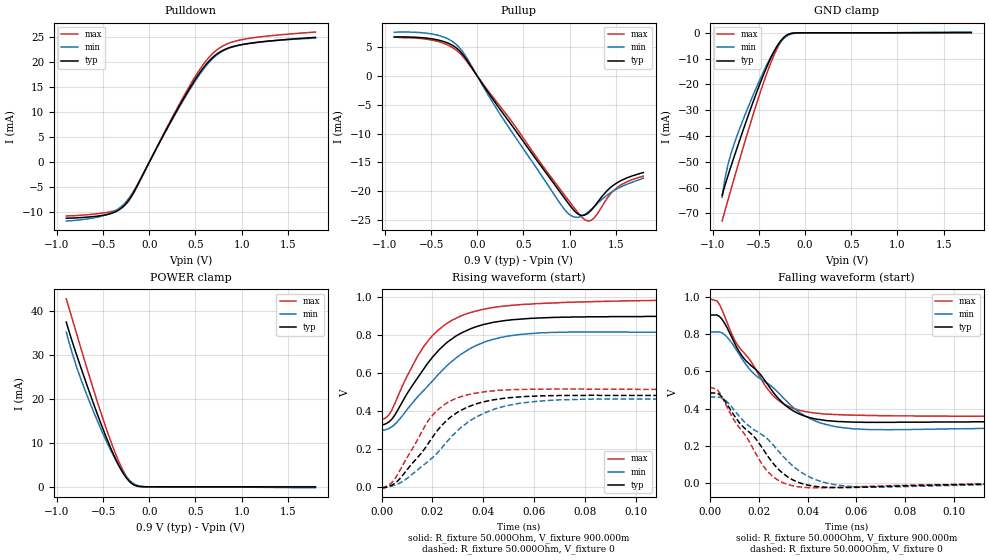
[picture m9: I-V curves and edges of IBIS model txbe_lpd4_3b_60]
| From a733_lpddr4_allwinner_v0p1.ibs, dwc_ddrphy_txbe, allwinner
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[Model] txbe_lpd4_3b_60
Model_type   I/O
Polarity   Non-Inverting
Enable   Active-High
C_comp   1.517pF   1.510pF   1.524pF
C_comp_pullup   267.419fF   265.838fF   270.415fF
C_comp_pulldown 1.188pF   1.186pF   1.195pF
Vinh = 427.000mV
Vinl = 307.000mV
Vmeas = 367.000mV
Vref = 367.000mV
Rref = 50Ohms
Cref = 0pF
[Model Spec]
Vinh   427.000mV   413.000mV   450.000mV
Vinl   307.000mV   293.000mV   330.000mV
Vmeas   367.000mV   353.000mV   390.000mV
Vref   367.000mV   353.000mV   390.000mV
D_overshoot_ampl_h 0.1 NA   NA
D_overshoot_ampl_l 0.1 NA   NA
D_overshoot_area_l 300.000m NA   NA
D_overshoot_area_h 300.000m NA   NA
[Receiver Thresholds]
Vth = 183.000mV
Vth_min = 177.000mV
Vth_max = 195.000mV
Vinh_ac = 60.000mV
Vinh_dc = 60.000mV
Vinl_ac = -60.000mV
Vinl_dc = -60.000mV
Tslew_ac = 5.000ns
Threshold_sensitivity = 0.5
Reference_supply Pullup_ref
[Temperature Range]   25.000   125.000   -40.000
[Voltage Range]   900.000mV   810.000mV   990.000mV
[GND Clamp Reference]   0.00V   0.00V   0.00V
[C Comp Corner]
| variable   typ   min   max
C_comp 1.517pF   1.524pF   1.510pF
C_comp_pullup 270.415fF   267.419fF   265.838fF
C_comp_pulldown 1.188pF   1.195pF   1.186pF
[Pulldown Reference]   0.00V   0.00V   0.00V
[POWER Clamp Reference]   900.000mV   810.000mV   990.000mV
[Pullup Reference]   900.000mV   810.000mV   990.000mV
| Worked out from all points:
|   slope of the pulldown table from 0 to 0.135 V, typ, clamps not added: 28.3 ohm
|   slope of the pullup table from 0 to 0.135 V, typ, clamps not added: 41.6 ohm
|   GND clamp passes 1 mA (typ) near -0.20 V on its own axis
|   POWER clamp passes 1 mA (typ) near -0.20 V on its own axis
|   rising waveform, R_fixture 50.000Ohm, V_fixture 900.000m: 20-80 % time 20.4ps typ, 22.7ps min, 19.4ps max; typ from 0.328 V to 0.9 V
|   rising waveform, R_fixture 50.000Ohm, V_fixture 0: 20-80 % time 18.6ps typ, 22.9ps min, 14.7ps max; typ from -0.001 V to 0.48 V
|   falling waveform, R_fixture 50.000Ohm, V_fixture 900.000m: 20-80 % time 19.9ps typ, 23.3ps min, 17.9ps max; typ from 0.904 V to 0.331 V
|   falling waveform, R_fixture 50.000Ohm, V_fixture 0: 20-80 % time 17.7ps typ, 22.5ps min, 14.3ps max; typ from 0.484 V to 0 V
[GND Clamp]
-900mV    -63.03mA   -63.74mA   -72.92mA
-870mV    -59.23mA   -56.7mA    -69.06mA
-840mV    -55.73mA   -51.6mA    -65.25mA
-810mV    -52.38mA   -47.57mA   -61.47mA
-760mV    -46.97mA   -42.03mA   -55.24mA
-650mV    -35.42mA   -31.64mA   -41.81mA
-480mV    -18.81mA   -17.27mA   -22.36mA
-370mV    -9.572mA   -9.262mA   -11.43mA
-290mV    -4.331mA   -4.638mA   -5.112mA
-200mV    -903.5uA   -1.331mA   -935.7uA
-40mV     -3.989uA   -16.47uA   -1.578uA
1.8V      73.41uA    295.2uA    56.65uA
[Power Clamp]
-900mV    37.59mA    35.26mA    42.88mA
-800mV    30.83mA    28.11mA    35.78mA
-720mV    25.86mA    23.31mA    30.1mA
-560mV    16.38mA    14.9mA     19.19mA
-420mV    8.907mA    8.372mA    10.5mA
-360mV    6.103mA    5.92mA     7.216mA
-280mV    2.975mA    3.149mA    3.511mA
-220mV    1.297mA    1.59mA     1.488mA
-170mV    468.9uA    724uA      488.2uA
-110mV    85.44uA    196.7uA    66.54uA
-30mV     3.546uA    12.27uA    2.009uA
1.8V      -34.72uA   -241.5uA   -8.599uA
[Pulldown]
-900mV    -11.22mA   -11.78mA   -10.77mA
-450mV    -10.45mA   -10.43mA   -10.04mA
-340mV    -9.686mA   -9.397mA   -9.492mA
-230mV    -7.796mA   -7.444mA   -7.919mA
-150mV    -5.37mA    -5.178mA   -5.521mA
180mV     6.333mA    6.207mA    6.522mA
430mV     14.51mA    14.22mA    15.01mA
600mV     19.18mA    18.86mA    19.88mA
740mV     21.7mA     21.52mA    22.53mA
870mV     22.88mA    22.79mA    23.81mA
1.07V     23.68mA    23.64mA    24.68mA
1.8V      24.91mA    24.74mA    25.98mA
[Pullup]
-900mV    6.79mA     7.62mA     6.76mA
-440mV    6.316mA    7.149mA    6.07mA
-310mV    5.67mA     6.402mA    5.317mA
-200mV    4.518mA    5.05mA     4.127mA
330mV     -7.598mA   -8.649mA   -6.967mA
900mV     -20.22mA   -22.21mA   -19.73mA
1.02V     -22.83mA   -24.31mA   -22.27mA
1.13V     -24.23mA   -24.37mA   -24.47mA
1.19V     -23.96mA   -23.78mA   -25.17mA
1.24V     -23.24mA   -23.1mA    -25.02mA
1.49V     -18.82mA   -19.83mA   -19.73mA
1.8V      -16.78mA   -17.75mA   -17.4mA
[Ramp]
R_load=50.000Ohm
dV/dt_r   314.670mV/20.500ps  290.221mV/23.500ps  343.491mV/18.000ps
dV/dt_f   314.670mV/20.000ps  290.220mV/23.500ps  343.496mV/16.500ps
[Rising waveform]
R_fixture=50.000Ohm
V_fixture=900.000m
V_fixture_min=810.000m
V_fixture_max=990.000m
0s        328mV      299mV      356mV
4ps       359mV      319mV      407mV
9ps       470mV      392mV      558mV
14ps      572mV      474mV      686mV
20ps      684mV      559mV      797mV
30ps      801mV      687mV      893mV
43ps      864mV      774mV      943mV
55ps      884mV      804mV      960mV
74ps      894mV      816mV      972mV
277ps     900mV      810mV      990mV
[Rising waveform]
R_fixture=50.000Ohm
V_fixture=0
0s        -1.245mV   -735.9uV   -1.875mV
4ps       12.79mV    7.567mV    25.87mV
7ps       43.98mV    22.52mV    85.85mV
18ps      224mV      134mV      344mV
22ps      300mV      183mV      406mV
30ps      396mV      300mV      471mV
39ps      446mV      382mV      500mV
53ps      474mV      439mV      514mV
78ps      483mV      463mV      517mV
278ps     480mV      459mV      513mV
[Falling waveform]
R_fixture=50.000Ohm
V_fixture=900.000m
V_fixture_min=810.000m
V_fixture_max=990.000m
0s        904mV      813mV      991mV
3ps       904mV      813mV      980mV
5ps       882mV      808mV      934mV
11ps      731mV      714mV      751mV
17ps      631mV      602mV      652mV
25ps      505mV      523mV      484mV
31ps      417mV      446mV      420mV
39ps      359mV      360mV      384mV
65ps      326mV      287mV      363mV
280ps     331mV      301mV      358mV
[Falling waveform]
R_fixture=50.000Ohm
V_fixture=0
0s        484mV      462mV      515mV
3ps       484mV      462mV      504mV
5ps       463mV      457mV      463mV
16ps      275mV      307mV      227mV
24ps      139mV      232mV      57.15mV
30ps      50.59mV    143mV      464.2uV
36ps      4.143mV    69.87mV    -20.54mV
47ps      -23.04mV   1.886mV    -26.23mV
63ps      -23.16mV   -21.83mV   -19.26mV
280ps     90.78uV    268.4uV    -38.2uV
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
